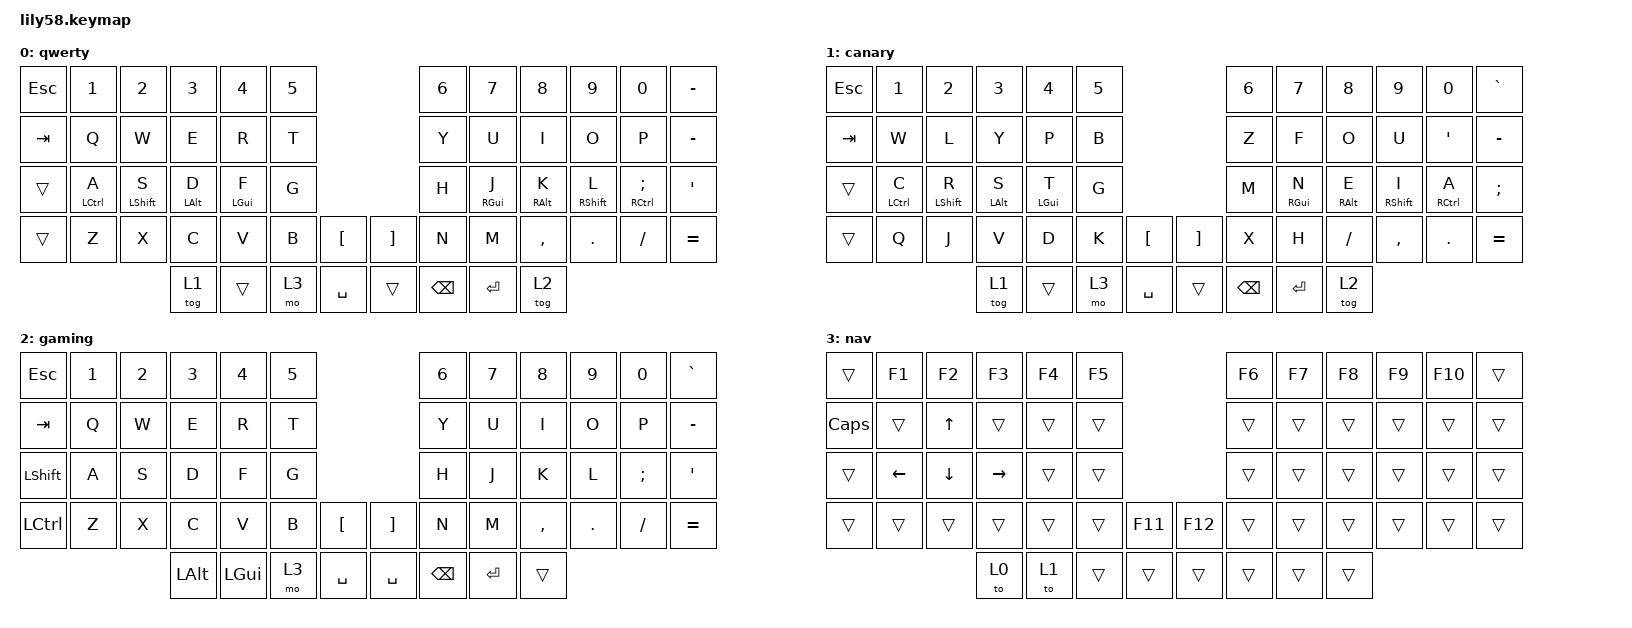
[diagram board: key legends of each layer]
/*
 * Copyright (c) 2020 The ZMK Contributors
 *
 * SPDX-License-Identifier: MIT
 */

#include <behaviors.dtsi>
#include <dt-bindings/zmk/keys.h>

/ {
    behaviors {
        HML: HML {
            compatible = "zmk,behavior-hold-tap";
            label = "HML";
            bindings = <&kp>, <&kp>;

            #binding-cells = <2>;
            hold-trigger-key-positions = <6 7 8 9 10 11 18 19 20 21 22 23 30 31 32 33 34 35 43 44 45 46 47 48 49 54 55 56 57>;
            tapping-term-ms = <300>;
            flavor = "tap-preferred";
        };

        HMR: HMR {
            compatible = "zmk,behavior-hold-tap";
            label = "HMR";
            bindings = <&kp>, <&kp>;

            #binding-cells = <2>;
            hold-trigger-key-positions = <0 1 2 3 4 5 12 13 14 15 16 17 24 25 26 27 28 29 36 37 38 39 40 41 42 50 51 52 53>;
            tapping-term-ms = <300>;
            flavor = "tap-preferred";
        };
    };

    keymap {
        compatible = "zmk,keymap";

        qwerty {
            // ------------------------------------------------------------------------------------------------------------
            // |  ESC  |  1  |  2  |  3   |  4   |  5   |                   |  6   |  7    |  8    |  9   |   0   | BSPC  |
            // |  TAB  |  Q  |  W  |  E   |  R   |  T   |                   |  Y   |  U    |  I    |  O   |   P   |   \   |
            // |  CTRL |  A  |  S  |  D   |  F   |  G   |                   |  H   |  J    |  K    |  L   |   ;   |   '   |
            // | SHIFT |  Z  |  X  |  C   |  V   |  B   |   "["  |  |  "]"  |  N   |  M    |  ,    |  .   |   /   | SHIFT |
            //                     | GUI  | LALT | SPC  | LOWER  |  | RAISE |ENTER | RAISE | GUI   |

            bindings = <
&kp ESC  &kp N1               &kp N2             &kp N3           &kp N4           &kp N5                         &kp N6         &kp N7            &kp N8            &kp N9              &kp N0                   &kp MINUS
&kp TAB  &kp Q                &kp W              &kp E            &kp R            &kp T                          &kp Y          &kp U             &kp I             &kp O               &kp P                    &kp MINUS
&trans   &HML LEFT_CONTROL A  &HML LEFT_SHIFT S  &HML LEFT_ALT D  &HML LEFT_GUI F  &kp G                          &kp H          &HMR RIGHT_GUI J  &HMR RIGHT_ALT K  &HMR RIGHT_SHIFT L  &HMR RIGHT_CONTROL SEMI  &kp SQT
&trans   &kp Z                &kp X              &kp C            &kp V            &kp B   &kp LBKT     &kp RBKT  &kp N          &kp M             &kp COMMA         &kp DOT             &kp FSLH                 &kp EQUAL
                                                 &tog 1           &trans           &mo 3   &kp SPACE    &trans    &kp BACKSPACE  &kp RETURN        &tog 2
            >;
        };

        canary {
            // ------------------------------------------------------------------------------------------------------------
            // |  F12  |  F1 |  F2 |  F3  |  F4  |  F5  |                   |  F6  |  F7   |  F8   |  F9  |   F10 |  F11  |
            // |   `   |  !  |  @  |  #   |  $   |  %   |                   |  7   |  8    |  9    |  -   |   =   |   `   |
            // |       |     |     |      |      |      |                   |  4   |  5    |  6    |  [   |   ]   |   \   |
            // |       |     |     |      |      |      |        |  |       |  1   |  2    |  3    |      |       |       |
            //                     |      |      |      |        |  |       |      |       |       |

            bindings = <
&kp ESC  &kp N1               &kp N2             &kp N3           &kp N4           &kp N5                         &kp N6         &kp N7            &kp N8            &kp N9              &kp N0                &kp GRAVE
&kp TAB  &kp W                &kp L              &kp Y            &kp P            &kp B                          &kp Z          &kp F             &kp O             &kp U               &kp APOS              &kp MINUS
&trans   &HML LEFT_CONTROL C  &HML LEFT_SHIFT R  &HML LEFT_ALT S  &HML LEFT_GUI T  &kp G                          &kp M          &HMR RIGHT_GUI N  &HMR RIGHT_ALT E  &HMR RIGHT_SHIFT I  &HMR RIGHT_CONTROL A  &kp SEMI
&trans   &kp Q                &kp J              &kp V            &kp D            &kp K   &kp LBKT     &kp RBKT  &kp X          &kp H             &kp FSLH          &kp COMMA           &kp DOT               &kp EQUAL
                                                 &tog 1           &trans           &mo 3   &kp SPACE    &trans    &kp BACKSPACE  &kp RETURN        &tog 2
            >;
        };

        gaming {
            bindings = <
&kp ESC    &kp N1  &kp N2  &kp N3    &kp N4    &kp N5                          &kp N6    &kp N7     &kp N8     &kp N9   &kp N0    &kp GRAVE
&kp TAB    &kp Q   &kp W   &kp E     &kp R     &kp T                           &kp Y     &kp U      &kp I      &kp O    &kp P     &kp MINUS
&kp LSHFT  &kp A   &kp S   &kp D     &kp F     &kp G                           &kp H     &kp J      &kp K      &kp L    &kp SEMI  &kp SQT
&kp LCTRL  &kp Z   &kp X   &kp C     &kp V     &kp B   &kp LBKT     &kp RBKT   &kp N     &kp M      &kp COMMA  &kp DOT  &kp FSLH  &kp EQUAL
                           &kp LALT  &kp LGUI  &mo 3   &kp SPACE    &kp SPACE  &kp BSPC  &kp ENTER  &trans
            >;
        };

        nav {
            // ------------------------------------------------------------------------------------------------------------
            // | BTCLR | BT1 | BT2 |  BT3 |  BT4 |  BT5 |                   |      |       |       |      |       |       |
            // |   `   |  1  |  2  |  3   |  4   |  5   |                   |  6   |   7   |   8   |  9   |   0   |       |
            // |   F1  |  F2 |  F3 |  F4  |  F5  |  F6  |                   |  <-  |   v   |  ^    |  ->  |       |       |
            // |   F7  |  F8 |  F9 |  F10 |  F11 |  F12 |        |  |       |  +   |   -   |   =   |  [   |   ]   |   \   |
            //                     |      |      |      |        |  |       |      |       |       |

            bindings = <
&trans    &kp F1    &kp F2          &kp F3     &kp F4  &kp F5                      &kp F6  &kp F7  &kp F8  &kp F9  &kp F10  &trans
&kp CAPS  &trans    &kp UP_ARROW    &trans     &trans  &trans                      &trans  &trans  &trans  &trans  &trans   &trans
&trans    &kp LEFT  &kp DOWN_ARROW  &kp RIGHT  &trans  &trans                      &trans  &trans  &trans  &trans  &trans   &trans
&trans    &trans    &trans          &trans     &trans  &trans  &kp F11    &kp F12  &trans  &trans  &trans  &trans  &trans   &trans
                                    &to 0      &to 1   &trans  &trans     &trans   &trans  &trans  &trans
            >;
        };
    };
};
